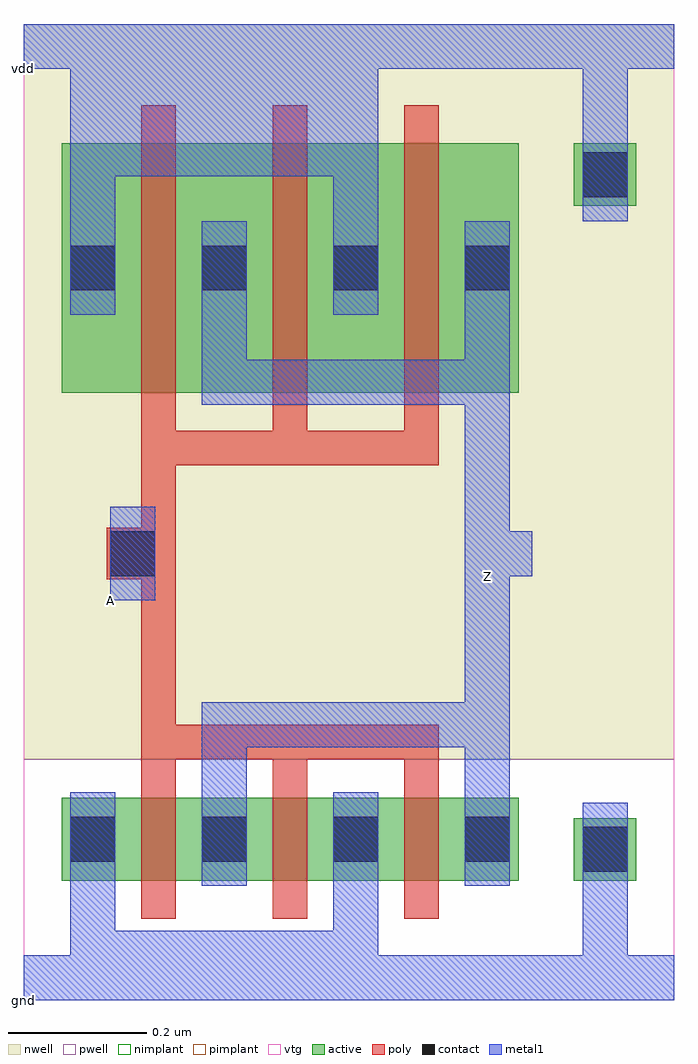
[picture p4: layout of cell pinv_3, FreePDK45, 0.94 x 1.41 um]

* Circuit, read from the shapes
.subckt pinv_3 A Z gnd vdd
M1 Z A gnd gnd nfet w=0.12u l=0.05u m=3
M2 Z A vdd vdd pfet w=0.36u l=0.05u m=3
.ends

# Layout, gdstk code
import gdstk
lib = gdstk.Library(unit=1e-6, precision=5e-10)
def R(c, l, rs):  # rectangles x0, y0, x1, y1
    for r in rs: c.add(gdstk.rectangle(r[:2], r[2:], *l))
def A(c, l, x, y, w, h, nx, ny, dx, dy):  # array of equal rectangles
    R(c, l, [(x+i*dx, y+j*dy, x+i*dx+w, y+j*dy+h) for i in range(nx) for j in range(ny)])
active = (1, 0)
pwell = (2, 0)
nwell = (3, 0)
nimplant = (4, 0)
pimplant = (5, 0)
vtg = (6, 0)
poly = (9, 0)
contact = (10, 0)
metal1 = (11, 0)

active_contact_metal1_1x = lib.new_cell('active_contact_metal1_1x1_pn')
R(active_contact_metal1_1x, active, [(0,0.0225,0.09,0.1125), (0,0.0225,0.09,0.1125)])
R(active_contact_metal1_1x, nwell, [(-0.055,-0.0325,0.145,0.1675), (-0.055,-0.0325,0.145,0.1675)])
R(active_contact_metal1_1x, pimplant, [(0,0.0225,0.09,0.1125), (0,0.0225,0.09,0.1125)])
R(active_contact_metal1_1x, contact, [(0.0125,0.035,0.0775,0.1), (0.0125,0.035,0.0775,0.1)])
R(active_contact_metal1_1x, metal1, [(0.0125,0,0.0775,0.135), (0.0125,0,0.0775,0.135)])

pmos_m3_w0_36_a_p = lib.new_cell('pmos_m3_w0_36_a_p')
R(pmos_m3_w0_36_a_p, active, [(0,0,0.66,0.36)])
R(pmos_m3_w0_36_a_p, nwell, [(-0.055,-0.055,0.715,0.415)])
R(pmos_m3_w0_36_a_p, pimplant, [(0,0,0.66,0.36)])
R(pmos_m3_w0_36_a_p, vtg, [(-0.055,-0.055,0.715,0.415)])
A(pmos_m3_w0_36_a_p, poly, 0.115, -0.055, 0.05, 0.47, 3, 1, 0.19, 0)
R(pmos_m3_w0_36_a_p, poly, [(0.115,-0.105,0.545,-0.055)])
R(pmos_m3_w0_36_a_p, metal1, [(0.2025,-0.0175,0.6475,0.0475), (0.2025,0.015,0.2675,0.18), (0.5825,0.015,0.6475,0.18), (0.0125,0.18,0.0775,0.345), (0.3925,0.18,0.4575,0.345), (0.0125,0.3125,0.4575,0.3775)])
pmos_m3_w0_36_a_p.add(gdstk.Reference(active_contact_metal1_1x, (0,0.1125)))
pmos_m3_w0_36_a_p.add(gdstk.Reference(active_contact_metal1_1x, (0.38,0.1125)))
pmos_m3_w0_36_a_p.add(gdstk.Reference(active_contact_metal1_1x, (0.19,0.1125)))
pmos_m3_w0_36_a_p.add(gdstk.Reference(active_contact_metal1_1x, (0.57,0.1125)))
pmos_m3_w0_36_a_p.add(gdstk.Label('S', (0.0125,0.3125), layer=11, texttype=0))
pmos_m3_w0_36_a_p.add(gdstk.Label('D', (0.2025,-0.0175), layer=11, texttype=0))
pmos_m3_w0_36_a_p.add(gdstk.Label('G', (0.115,-0.105), layer=9, texttype=0))

c_active_contact_metal1_1x = lib.new_cell('active_contact_metal1_1x1_np')
R(c_active_contact_metal1_1x, active, [(0,0.0225,0.09,0.1125)])
R(c_active_contact_metal1_1x, pwell, [(-0.055,-0.0325,0.145,0.1675)])
R(c_active_contact_metal1_1x, nimplant, [(0,0.0225,0.09,0.1125)])
R(c_active_contact_metal1_1x, contact, [(0.0125,0.035,0.0775,0.1)])
R(c_active_contact_metal1_1x, metal1, [(0.0125,0,0.0775,0.135)])

nmos_m3_w0_12_a_p = lib.new_cell('nmos_m3_w0_12_a_p')
R(nmos_m3_w0_12_a_p, active, [(0,0,0.66,0.12)])
R(nmos_m3_w0_12_a_p, pwell, [(-0.055,-0.055,0.715,0.175)])
R(nmos_m3_w0_12_a_p, nimplant, [(0,0,0.66,0.12)])
R(nmos_m3_w0_12_a_p, vtg, [(-0.055,-0.055,0.715,0.175)])
A(nmos_m3_w0_12_a_p, poly, 0.115, -0.055, 0.05, 0.23, 3, 1, 0.19, 0)
R(nmos_m3_w0_12_a_p, poly, [(0.115,0.175,0.545,0.225)])
R(nmos_m3_w0_12_a_p, metal1, [(0.0125,-0.1375,0.4575,-0.0725), (0.0125,-0.105,0.0775,0.06), (0.3925,-0.105,0.4575,0.06), (0.2025,0.06,0.2675,0.225), (0.5825,0.06,0.6475,0.225), (0.2025,0.1925,0.6475,0.2575)])
nmos_m3_w0_12_a_p.add(gdstk.Reference(c_active_contact_metal1_1x, (0,-0.0075)))
nmos_m3_w0_12_a_p.add(gdstk.Reference(c_active_contact_metal1_1x, (0.38,-0.0075)))
nmos_m3_w0_12_a_p.add(gdstk.Reference(c_active_contact_metal1_1x, (0.19,-0.0075)))
nmos_m3_w0_12_a_p.add(gdstk.Reference(c_active_contact_metal1_1x, (0.57,-0.0075)))
nmos_m3_w0_12_a_p.add(gdstk.Label('S', (0.0125,-0.1375), layer=11, texttype=0))
nmos_m3_w0_12_a_p.add(gdstk.Label('D', (0.2025,0.1925), layer=11, texttype=0))
nmos_m3_w0_12_a_p.add(gdstk.Label('G', (0.115,0.175), layer=9, texttype=0))

c_active_contact_metal1_1x_ = lib.new_cell('active_contact_metal1_1x1_nn')
R(c_active_contact_metal1_1x_, active, [(0,0.0225,0.09,0.1125), (0,0.0225,0.09,0.1125)])
R(c_active_contact_metal1_1x_, nwell, [(-0.055,-0.0325,0.145,0.1675), (-0.055,-0.0325,0.145,0.1675)])
R(c_active_contact_metal1_1x_, nimplant, [(0,0.0225,0.09,0.1125), (0,0.0225,0.09,0.1125)])
R(c_active_contact_metal1_1x_, contact, [(0.0125,0.035,0.0775,0.1), (0.0125,0.035,0.0775,0.1)])
R(c_active_contact_metal1_1x_, metal1, [(0.0125,0,0.0775,0.135), (0.0125,0,0.0775,0.135)])

c_active_contact_metal1_1x__ = lib.new_cell('active_contact_metal1_1x1_pp')
R(c_active_contact_metal1_1x__, active, [(0,0.0225,0.09,0.1125)])
R(c_active_contact_metal1_1x__, pwell, [(-0.055,-0.0325,0.145,0.1675)])
R(c_active_contact_metal1_1x__, pimplant, [(0,0.0225,0.09,0.1125)])
R(c_active_contact_metal1_1x__, contact, [(0.0125,0.035,0.0775,0.1)])
R(c_active_contact_metal1_1x__, metal1, [(0.0125,0,0.0775,0.135)])

poly_contact_metal1_1x1 = lib.new_cell('poly_contact_metal1_1x1')
R(poly_contact_metal1_1x1, poly, [(0,0.03,0.075,0.105), (0,0.03,0.075,0.105)])
R(poly_contact_metal1_1x1, contact, [(0.005,0.035,0.07,0.1), (0.005,0.035,0.07,0.1)])
R(poly_contact_metal1_1x1, metal1, [(0.005,0,0.07,0.135), (0.005,0,0.07,0.135)])

pinv_3 = lib.new_cell('pinv_3')
R(pinv_3, pwell, [(0,-0.0325,0.94,0.315)])
R(pinv_3, nwell, [(0,0.315,0.94,1.3775)])
R(pinv_3, vtg, [(0,-0.0325,0.94,0.315), (0,0.315,0.94,1.3775)])
R(pinv_3, poly, [(0.17,0.315,0.22,0.74), (0.1575,0.575,0.17,0.65)])
R(pinv_3, metal1, [(0,-0.0325,0.94,0.0325), (0.8075,0,0.8725,0.185), (0.6375,0.3325,0.7025,0.8275), (0.125,0.545,0.19,0.68), (0.67,0.58,0.735,0.645), (0.0675,1.1575,0.5125,1.3775), (0.8075,1.16,0.8725,1.345), (0,1.3125,0.94,1.3775)])
pinv_3.add(gdstk.Reference(pmos_m3_w0_36_a_p, (0.055,0.845)))
pinv_3.add(gdstk.Reference(nmos_m3_w0_12_a_p, (0.055,0.14)))
pinv_3.add(gdstk.Reference(c_active_contact_metal1_1x_, (0.795,1.0925)))
pinv_3.add(gdstk.Reference(c_active_contact_metal1_1x__, (0.795,0.1175)))
pinv_3.add(gdstk.Reference(poly_contact_metal1_1x1, (0.12,0.545)))
pinv_3.add(gdstk.Label('A', (0.125,0.545), layer=11, texttype=0))
pinv_3.add(gdstk.Label('Z', (0.67,0.58), layer=11, texttype=0))
pinv_3.add(gdstk.Label('vdd', (0,1.3125), layer=11, texttype=0))
pinv_3.add(gdstk.Label('gnd', (0,-0.0325), layer=11, texttype=0))

lib.write_gds('pinv_3.gds')
